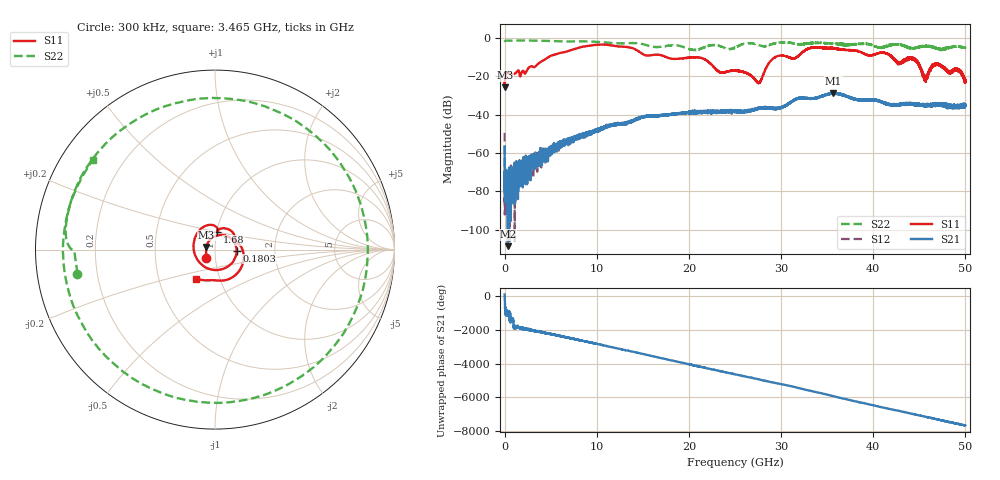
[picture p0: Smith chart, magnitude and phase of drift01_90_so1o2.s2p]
!Created with skrf (http://scikit-rf.org).
# Hz S RI R 50.0
!freq ReS11 ImS11 ReS21 ImS21 ReS12 ImS12 ReS22 ImS22
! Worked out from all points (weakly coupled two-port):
!   10001 points, 300 kHz to 50 GHz, reference 50 ohm
!   highest |S21| = -28.74 dB at 35.68 GHz (marker M1); lowest = -108.7 dB at 355.3 MHz (marker M2)
!   lowest |S11| = -25.8 dB at 5.3 MHz (marker M3), VSWR 1.11, Z = 45.3 + j1.4 ohm
!   |S11| at or under -10 dB: start of sweep to 4.769 GHz; 17.52 GHz to 29.39 GHz (11.88 GHz wide, 50.6 % of centre); 42.08 GHz to end of sweep (the widest 3 of 10)
!   |S22| runs from -6.5 to -1.4 dB; largest |S21 - S12| = 0.0037
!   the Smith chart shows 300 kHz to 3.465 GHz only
!   S11 on the Smith chart (normalised r, x): 300 kHz: 0.90, -0.08; 180.3 MHz: 1.27, -0.01; 1.68 GHz: 1.01, +0.20; 3.465 GHz: 0.77, -0.26
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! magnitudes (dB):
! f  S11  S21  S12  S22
! 300 kHz  -23.5  -56.7  -49.5  -2.2
! 5.3 MHz  -25.8  -72.1  -85.4  -2.1
! 180.3 MHz  -18.4  -80.7  -90.0  -1.4
! 355.3 MHz  -18.4  -108.7  -76.9  -1.4
! 1.68 GHz  -20.1  -72.0  -66.4  -1.4
! 3.465 GHz  -14.3  -67.2  -64.9  -1.5
! 8.335 GHz  -4.8  -51.3  -51.1  -1.8
! 16.67 GHz  -8.8  -40.3  -40.6  -4.8
! 21.2 GHz  -10.3  -39.0  -38.8  -5.8
! 23.39 GHz  -17.9  -38.4  -38.4  -4.4
! 25 GHz  -17.1  -38.0  -38.4  -5.1
! 27.58 GHz  -23.6  -36.9  -37.0  -3.8
! 29.28 GHz  -10.3  -36.8  -36.5  -2.9
! 31.45 GHz  -10.7  -32.3  -32.4  -3.0
! 33.34 GHz  -5.1  -31.7  -31.6  -2.7
! 35.68 GHz  -5.5  -28.7  -28.9  -3.2
! 41.67 GHz  -8.7  -34.3  -34.8  -4.2
! 42.8 GHz  -13.2  -34.6  -35.0  -3.6
! 44.49 GHz  -11.5  -34.9  -34.4  -5.5
! 45.63 GHz  -20.3  -35.5  -35.1  -4.3
! 46.96 GHz  -13.6  -34.4  -34.3  -5.7
! 50 GHz  -21.9  -35.3  -35.1  -5.4
